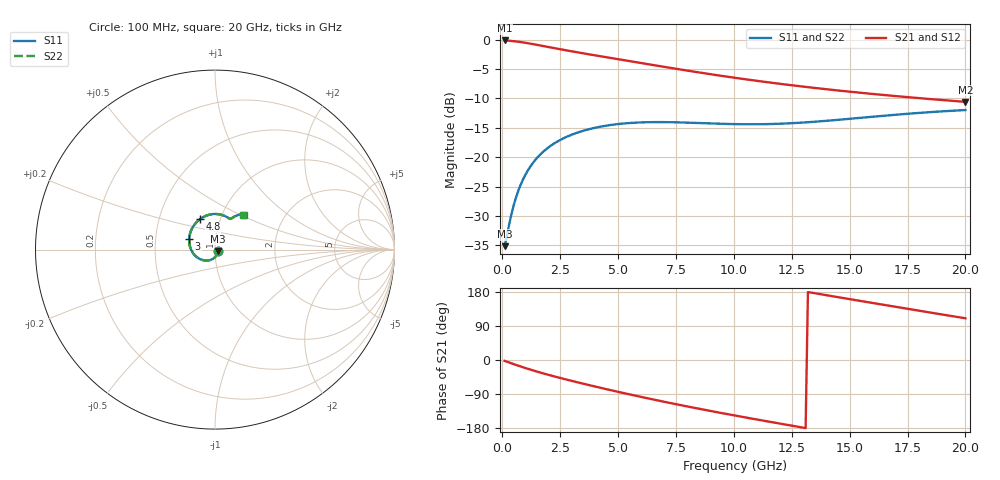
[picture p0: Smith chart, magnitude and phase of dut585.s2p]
! Touchstone file exported from HFSS 2024.1.0
!  File:  C:/UserFiles/LocalFiles/RDL_TSV_Batchsim/temp_RDL_TSV_585_1779758185.aedt
!  Generated:  09:28:30 AM May 26, 2026
!  Design:  RDL_TSV
!  Project:  temp_RDL_TSV_585_1779758185
!  Setup:  Setup1
!  Solution:  Sweep
! Variables:
!  dtsv = 14.26um
!  hbump = 3um
!  htsv = 96.09um
!  ldown = 273.9um
!  lrdl = 632.75um
!  p = 40
!  p1 = 40.45um
!  rhole = 10um
!  subl = 3352.7um
!  t = 450um
!  tdown = 2.63um
!  trdl = 3.74um
!  viad = 10um
!  wdown = 17.54um
!  wrdl = 25.67um
!  xbump = 18um
# GHz S MA R 50.000000
! Terminal data exported
! Port[1] = TM1_1_T1
! Port[2] = TM1_4_T1
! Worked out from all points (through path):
!   200 points, 100 MHz to 20 GHz, reference 50 ohm
!   highest |S21| = -0.15 dB at 100 MHz (marker M1); lowest = -10.6 dB at 20 GHz (marker M2)
!   group delay of S21, straight-line fit = 33 ps
!   lowest |S11| = -35.1 dB at 100 MHz (marker M3), VSWR 1.04, Z = 51.6 - j0.774 ohm
!   |S11| at or under -10 dB: start of sweep to end of sweep
!   |S22| runs from -35.1 to -12.0 dB; largest |S21 - S12| = 1e-14
!   S11 on the Smith chart (normalised r, x): 100 MHz: 1.03, -0.02; 3 GHz: 0.74, +0.09; 4.8 GHz: 0.80, +0.28; 20 GHz: 1.26, +0.52
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0.1  0.01748 -25.4  0.983 -2.3  0.983 -2.3  0.01748 -25.4
! Gamma 0 0 0 0
! Port Impedance 50 0 50 0
0.4  0.03304 -75.4  0.9733 -8.9  0.9733 -8.9  0.03304 -75.4
0.6  0.04587 -94.6  0.9638 -13.1  0.9638 -13.1  0.04587 -94.6
0.8  0.05864 -109.3  0.9523 -17.2  0.9523 -17.2  0.05865 -109.3
1.1  0.0768 -127.4  0.932 -23.2  0.932 -23.2  0.0768 -127.4
1.5  0.09845 -147.4  0.9019 -30.6  0.9019 -30.6  0.09845 -147.4
1.9  0.1171 -164.6  0.8713 -37.6  0.8713 -37.6  0.117 -164.5
2.4  0.1365 177.0  0.8347 -45.8  0.8347 -45.8  0.1365 177.0
3  0.1553 158.1  0.7945 -55.2  0.7945 -55.2  0.1552 158.1
3.5  0.1677 144.5  0.7637 -62.7  0.7637 -62.7  0.1676 144.6
4.1  0.1794 130.5  0.7292 -71.4  0.7292 -71.4  0.1793 130.5
4.8  0.1891 116.5  0.6914 -81.3  0.6914 -81.3  0.1889 116.5
5.8  0.1967 100.3  0.6409 -94.9  0.6409 -94.9  0.1965 100.4
6.8  0.1987 87.9  0.5944 -107.9  0.5944 -107.9  0.1984 88.0
8.4  0.1953 74.4  0.5288 -127.5  0.5288 -127.5  0.195 74.5
10.1  0.1908 66.7  0.4713 -147.1  0.4713 -147.1  0.1905 66.8
11.7  0.1915 63.4  0.4275 -164.7  0.4275 -164.7  0.1912 63.6
13.4  0.1994 61.6  0.3896 177.2  0.3896 177.2  0.1992 61.8
15.1  0.2127 59.6  0.3587 159.6  0.3587 159.6  0.2125 59.8
16.7  0.2269 57.1  0.3345 143.2  0.3345 143.2  0.2268 57.3
18.3  0.2402 54.1  0.314 127.1  0.314 127.1  0.24 54.3
20  0.2515 50.7  0.2954 110.1  0.2954 110.1  0.2513 50.8
